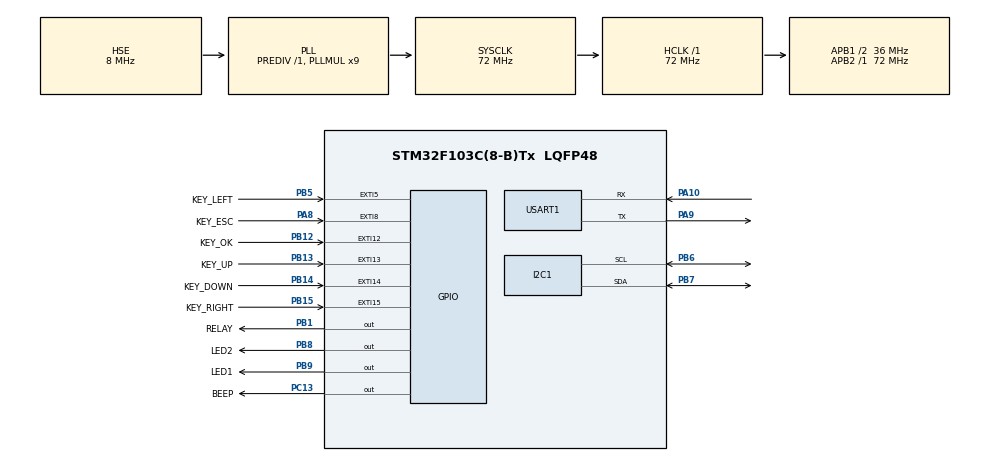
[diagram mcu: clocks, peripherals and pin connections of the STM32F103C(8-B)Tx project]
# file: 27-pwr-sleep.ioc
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Dma.Request0=USART1_RX
Dma.USART1_RX.0.Direction=DMA_PERIPH_TO_MEMORY
Dma.USART1_RX.0.Instance=DMA1_Channel5
Dma.USART1_RX.0.MemDataAlignment=DMA_MDATAALIGN_BYTE
Dma.USART1_RX.0.MemInc=DMA_MINC_ENABLE
Dma.USART1_RX.0.Mode=DMA_CIRCULAR
Dma.USART1_RX.0.PeriphDataAlignment=DMA_PDATAALIGN_BYTE
Dma.USART1_RX.0.PeriphInc=DMA_PINC_DISABLE
Dma.USART1_RX.0.Priority=DMA_PRIORITY_LOW
Mcu.Family=STM32F1
Mcu.Name=STM32F103C(8-B)Tx
Mcu.Package=LQFP48
NVIC.DMA1_Channel5_IRQn=true\:0\:0\:false\:false\:true\:false\:true\:true
NVIC.EXTI15_10_IRQn=true\:0\:0\:true\:false\:true\:true\:true\:true
NVIC.EXTI9_5_IRQn=true\:0\:0\:true\:false\:true\:true\:true\:true
NVIC.PriorityGroup=NVIC_PRIORITYGROUP_4
NVIC.USART1_IRQn=true\:0\:0\:false\:false\:true\:true\:true\:true
PA10.Mode=Asynchronous
PA10.Signal=USART1_RX
PA13.Mode=Serial_Wire
PA13.Signal=SYS_JTMS-SWDIO
PA14.Mode=Serial_Wire
PA14.Signal=SYS_JTCK-SWCLK
PA8.GPIO_Label=KEY_ESC
PA8.GPIO_ModeDefaultEXTI=GPIO_MODE_IT_FALLING
PA8.GPIO_PuPd=GPIO_PULLUP
PA8.Signal=GPXTI8
PA9.Mode=Asynchronous
PA9.Signal=USART1_TX
PB1.GPIO_Label=RELAY
PB1.Signal=GPIO_Output
PB12.GPIO_Label=KEY_OK
PB12.GPIO_ModeDefaultEXTI=GPIO_MODE_IT_FALLING
PB12.GPIO_PuPd=GPIO_PULLUP
PB12.Signal=GPXTI12
PB13.GPIO_Label=KEY_UP
PB13.GPIO_ModeDefaultEXTI=GPIO_MODE_IT_FALLING
PB13.GPIO_PuPd=GPIO_PULLUP
PB13.Signal=GPXTI13
PB14.GPIO_Label=KEY_DOWN
PB14.GPIO_ModeDefaultEXTI=GPIO_MODE_IT_FALLING
PB14.GPIO_PuPd=GPIO_PULLUP
PB14.Signal=GPXTI14
PB15.GPIO_Label=KEY_RIGHT
PB15.GPIO_ModeDefaultEXTI=GPIO_MODE_IT_FALLING
PB15.GPIO_PuPd=GPIO_PULLUP
PB15.Signal=GPXTI15
PB5.GPIO_Label=KEY_LEFT
PB5.GPIO_ModeDefaultEXTI=GPIO_MODE_IT_FALLING
PB5.GPIO_PuPd=GPIO_PULLUP
PB5.Signal=GPXTI5
PB6.Mode=I2C
PB6.Signal=I2C1_SCL
PB7.Mode=I2C
PB7.Signal=I2C1_SDA
PB8.GPIO_Label=LED2
PB8.PinState=GPIO_PIN_SET
PB8.Signal=GPIO_Output
PB9.GPIO_Label=LED1
PB9.PinState=GPIO_PIN_SET
PB9.Signal=GPIO_Output
PC13-TAMPER-RTC.GPIO_Label=BEEP
PC13-TAMPER-RTC.Signal=GPIO_Output
PC14-OSC32_IN.Mode=LSE-External-Oscillator
PC14-OSC32_IN.Signal=RCC_OSC32_IN
PC15-OSC32_OUT.Mode=LSE-External-Oscillator
PC15-OSC32_OUT.Signal=RCC_OSC32_OUT
PD0-OSC_IN.Mode=HSE-External-Oscillator
PD0-OSC_IN.Signal=RCC_OSC_IN
PD1-OSC_OUT.Mode=HSE-External-Oscillator
PD1-OSC_OUT.Signal=RCC_OSC_OUT
ProjectManager.HeapSize=0x200
ProjectManager.StackSize=0x400
ProjectManager.TargetToolchain=MDK-ARM V5.32
RCC.AHBFreq_Value=72000000
RCC.APB1CLKDivider=RCC_HCLK_DIV2
RCC.APB1Freq_Value=36000000
RCC.APB1TimFreq_Value=72000000
RCC.APB2Freq_Value=72000000
RCC.APB2TimFreq_Value=72000000
RCC.HCLKFreq_Value=72000000
RCC.PLLMUL=RCC_PLL_MUL9
RCC.PLLSourceVirtual=RCC_PLLSOURCE_HSE
RCC.RTCClockSelection=RCC_RTCCLKSOURCE_LSE
RCC.SYSCLKFreq_VALUE=72000000
RCC.SYSCLKSource=RCC_SYSCLKSOURCE_PLLCLK
RCC.USBFreq_Value=72000000
RTC.Date=4
RTC.Hours=10
RTC.Minutes=20
RTC.Month=RTC_MONTH_SEPTEMBER
RTC.Seconds=30
RTC.WeekDay=RTC_WEEKDAY_THURSDAY
RTC.Year=25
USART1.VirtualMode=VM_ASYNC
VP_RTC_VS_RTC_Activate.Mode=RTC_Enabled
VP_RTC_VS_RTC_Calendar.Mode=RTC_Calendar
board=custom

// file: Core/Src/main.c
/* USER CODE BEGIN Header */
/**
  ******************************************************************************
  * @file           : main.c
  * @brief          : Main program body
  ******************************************************************************
  * @attention
  *
  * Copyright (c) 2025 STMicroelectronics.
  * All rights reserved.
  *
  * This software is licensed under terms that can be found in the LICENSE file
  * in the root directory of this software component.
  * If no LICENSE file comes with this software, it is provided AS-IS.
  *
  ******************************************************************************
  */
/* USER CODE END Header */
#include "main.h"
#include "dma.h"
#include "i2c.h"
#include "rtc.h"
#include "usart.h"
#include "gpio.h"

/* USER CODE BEGIN Includes */
#include <stdio.h>
#include "oled.h"
#include "aht20.h"
#include "ina226.h"
/* USER CODE END Includes */

void SystemClock_Config(void);

int main(void)
{

  /* MCU Configuration--------------------------------------------------------*/

  /* Reset of all peripherals, Initializes the Flash interface and the Systick. */
  HAL_Init();

  /* Configure the system clock */
  SystemClock_Config();

  /* Initialize all configured peripherals */
  MX_GPIO_Init();
  MX_DMA_Init();
  MX_USART1_UART_Init();
  MX_I2C1_Init();
  MX_RTC_Init();
  /* USER CODE BEGIN 2 */
	printf("Uart1 init is ok\n");
	printf("PWR Sleep Test\n");
	__HAL_UART_ENABLE_IT(&huart1, UART_IT_IDLE); //使能串UART1 IDLE(空闲)中断
	HAL_UART_Receive_DMA(&huart1, RX1_Buf, DMA_BUF_SIZE); //设置DMA传输，将uart1的数据搬运到RX1_Buf中

	//EEPROM_Test();
	OLED_Init();
	OLED_CLS(); // 清除屏幕显示
	AHT20_Init();
	INA226_Init();
  /* USER CODE END 2 */

  /* Infinite loop */
  while (1)
  {

    /* USER CODE BEGIN 3 */
		//LED_Test();
		//BEEP_Test();
		//RELAY_Test();
		//KEY_Test();
		//OLED_Test();
		//AHT20_Test();
		//INA226_Test();
		//IWDG_Test();
		//RTC_Test();

		// 使用LED1 指示灯, 指示系统正在运行
    LED_Control(LED1,ON); // LED1 亮
    HAL_Delay(2000); //  延时2秒
    LED_Control(LED1,OFF); // LED1 灭
    printf("System is Running\n");

    // 使用 LED2指示, 系统进入睡眠模式
    LED_Control(LED2,ON);  // LED2 亮
    HAL_SuspendTick() ;// 暂停 滴答定时器 ， 因为嘀嗒定时器会产生1ms的中断， 必须关掉
    printf("System is sleeping\n");
    HAL_PWR_EnterSLEEPMode(PWR_MAINREGULATOR_ON,PWR_SLEEPENTRY_WFI) ; // 进入睡眠模式
    // 等待被唤醒 ........  , 可以按下6个按键中的任何一个即可唤醒 , 最好按下ESC,因为ESC默认动作时关闭蜂鸣器

    // 被唤醒后
    printf("System is wakeup\n");
    LED_Control(LED2,OFF);  // LED2 灭
    HAL_ResumeTick(); //  恢复滴答定时器的计时

  }
  /* USER CODE END 3 */
}

void SystemClock_Config(void)
{
  RCC_OscInitTypeDef RCC_OscInitStruct = {0};
  RCC_ClkInitTypeDef RCC_ClkInitStruct = {0};
  RCC_PeriphCLKInitTypeDef PeriphClkInit = {0};

  /** Initializes the RCC Oscillators according to the specified parameters
  * in the RCC_OscInitTypeDef structure.
  */
  RCC_OscInitStruct.OscillatorType = RCC_OSCILLATORTYPE_HSE|RCC_OSCILLATORTYPE_LSE;
  RCC_OscInitStruct.HSEState = RCC_HSE_ON;
  RCC_OscInitStruct.HSEPredivValue = RCC_HSE_PREDIV_DIV1;
  RCC_OscInitStruct.LSEState = RCC_LSE_ON;
  RCC_OscInitStruct.HSIState = RCC_HSI_ON;
  RCC_OscInitStruct.PLL.PLLState = RCC_PLL_ON;
  RCC_OscInitStruct.PLL.PLLSource = RCC_PLLSOURCE_HSE;
  RCC_OscInitStruct.PLL.PLLMUL = RCC_PLL_MUL9;
  if (HAL_RCC_OscConfig(&RCC_OscInitStruct) != HAL_OK)
  {
    Error_Handler();
  }

  /** Initializes the CPU, AHB and APB buses clocks
  */
  RCC_ClkInitStruct.ClockType = RCC_CLOCKTYPE_HCLK|RCC_CLOCKTYPE_SYSCLK
                              |RCC_CLOCKTYPE_PCLK1|RCC_CLOCKTYPE_PCLK2;
  RCC_ClkInitStruct.SYSCLKSource = RCC_SYSCLKSOURCE_PLLCLK;
  RCC_ClkInitStruct.AHBCLKDivider = RCC_SYSCLK_DIV1;
  RCC_ClkInitStruct.APB1CLKDivider = RCC_HCLK_DIV2;
  RCC_ClkInitStruct.APB2CLKDivider = RCC_HCLK_DIV1;

  if (HAL_RCC_ClockConfig(&RCC_ClkInitStruct, FLASH_LATENCY_2) != HAL_OK)
  {
    Error_Handler();
  }
  PeriphClkInit.PeriphClockSelection = RCC_PERIPHCLK_RTC;
  PeriphClkInit.RTCClockSelection = RCC_RTCCLKSOURCE_LSE;
  if (HAL_RCCEx_PeriphCLKConfig(&PeriphClkInit) != HAL_OK)
  {
    Error_Handler();
  }
}

void Error_Handler(void)
{
  __disable_irq();
  while (1)
  {
  }
}
